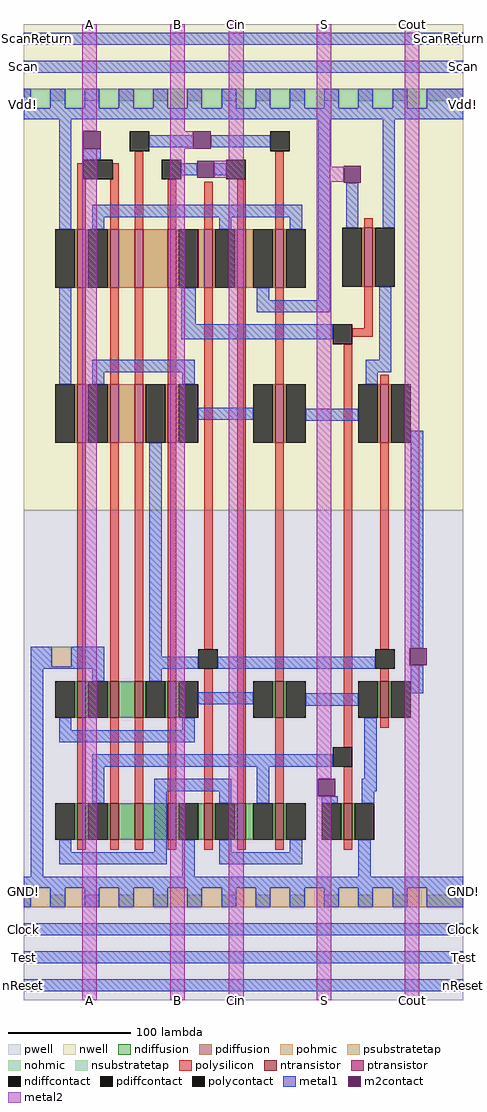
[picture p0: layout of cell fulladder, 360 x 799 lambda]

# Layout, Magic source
magic
tech c035u
<< nwell >>
rect 0 401 360 799
<< pwell >>
rect 0 0 360 401
<< polysilicon >>
rect 44 672 49 685
rect 73 672 78 685
rect 44 631 51 672
rect 71 631 78 672
rect 91 631 98 695
rect 118 631 125 672
rect 148 631 155 670
rect 175 631 182 672
rect 206 631 213 695
rect 279 632 286 640
rect 44 504 51 583
rect 71 504 78 583
rect 91 504 98 583
rect 118 504 125 583
rect 44 261 51 456
rect 71 261 78 456
rect 91 261 98 456
rect 118 261 125 456
rect 148 287 155 583
rect 44 161 51 231
rect 71 161 78 231
rect 91 161 98 231
rect 118 161 125 231
rect 148 161 155 271
rect 175 161 182 583
rect 206 504 213 583
rect 279 550 286 584
rect 269 543 286 550
rect 206 261 213 456
rect 206 161 213 231
rect 262 207 269 537
rect 292 504 299 512
rect 292 287 299 456
rect 292 261 299 271
rect 292 223 299 231
rect 262 161 269 191
rect 44 123 51 131
rect 71 123 78 131
rect 91 123 98 131
rect 118 123 125 131
rect 148 123 155 131
rect 175 123 182 131
rect 206 123 213 131
rect 262 123 269 131
<< ndiffusion >>
rect 42 231 44 261
rect 51 231 53 261
rect 69 231 71 261
rect 78 231 91 261
rect 98 231 100 261
rect 116 231 118 261
rect 125 231 127 261
rect 204 231 206 261
rect 213 231 215 261
rect 290 231 292 261
rect 299 231 301 261
rect 42 131 44 161
rect 51 131 53 161
rect 69 131 71 161
rect 78 131 91 161
rect 98 131 118 161
rect 125 131 127 161
rect 143 131 148 161
rect 155 131 157 161
rect 173 131 175 161
rect 182 131 188 161
rect 204 131 206 161
rect 213 131 215 161
rect 260 131 262 161
rect 269 131 271 161
<< pdiffusion >>
rect 42 583 44 631
rect 51 583 53 631
rect 69 583 71 631
rect 78 583 91 631
rect 98 583 118 631
rect 125 583 127 631
rect 143 583 148 631
rect 155 583 157 631
rect 173 583 175 631
rect 182 583 188 631
rect 204 583 206 631
rect 213 583 215 631
rect 277 584 279 632
rect 286 584 288 632
rect 42 456 44 504
rect 51 456 53 504
rect 69 456 71 504
rect 78 456 91 504
rect 98 456 100 504
rect 116 456 118 504
rect 125 456 127 504
rect 204 456 206 504
rect 213 456 215 504
rect 290 456 292 504
rect 299 456 301 504
<< pohmic >>
rect 0 76 6 86
rect 22 76 34 86
rect 50 76 62 86
rect 78 76 90 86
rect 106 76 118 86
rect 134 76 146 86
rect 162 76 174 86
rect 190 76 202 86
rect 218 76 230 86
rect 246 76 258 86
rect 274 76 286 86
rect 302 76 314 86
rect 330 76 360 86
<< nohmic >>
rect 0 736 6 746
rect 22 736 34 746
rect 50 736 62 746
rect 78 736 90 746
rect 106 736 118 746
rect 134 736 146 746
rect 162 736 174 746
rect 190 736 202 746
rect 218 736 230 746
rect 246 736 258 746
rect 274 736 286 746
rect 302 736 314 746
rect 330 736 360 746
<< ntransistor >>
rect 44 231 51 261
rect 71 231 78 261
rect 91 231 98 261
rect 118 231 125 261
rect 206 231 213 261
rect 292 231 299 261
rect 44 131 51 161
rect 71 131 78 161
rect 91 131 98 161
rect 118 131 125 161
rect 148 131 155 161
rect 175 131 182 161
rect 206 131 213 161
rect 262 131 269 161
<< ptransistor >>
rect 44 583 51 631
rect 71 583 78 631
rect 91 583 98 631
rect 118 583 125 631
rect 148 583 155 631
rect 175 583 182 631
rect 206 583 213 631
rect 279 584 286 632
rect 44 456 51 504
rect 71 456 78 504
rect 91 456 98 504
rect 118 456 125 504
rect 206 456 213 504
rect 292 456 299 504
<< polycontact >>
rect 87 695 103 711
rect 202 695 218 711
rect 49 672 73 688
rect 113 672 129 688
rect 166 672 182 688
rect 143 271 159 287
rect 253 537 269 553
rect 288 271 304 287
rect 253 191 269 207
<< ndiffcontact >>
rect 26 231 42 261
rect 53 231 69 261
rect 100 231 116 261
rect 127 231 143 261
rect 188 231 204 261
rect 215 231 231 261
rect 274 231 290 261
rect 301 231 317 261
rect 26 131 42 161
rect 53 131 69 161
rect 127 131 143 161
rect 157 131 173 161
rect 188 131 204 161
rect 215 131 231 161
rect 244 131 260 161
rect 271 131 287 161
<< pdiffcontact >>
rect 26 583 42 631
rect 53 583 69 631
rect 127 583 143 631
rect 157 583 173 631
rect 188 583 204 631
rect 215 583 231 631
rect 261 584 277 632
rect 288 584 304 632
rect 26 456 42 504
rect 53 456 69 504
rect 100 456 116 504
rect 127 456 143 504
rect 188 456 204 504
rect 215 456 231 504
rect 274 456 290 504
rect 301 456 317 504
<< psubstratetap >>
rect 23 273 39 289
rect 6 76 22 92
rect 34 76 50 92
rect 62 76 78 92
rect 90 76 106 92
rect 118 76 134 92
rect 146 76 162 92
rect 174 76 190 92
rect 202 76 218 92
rect 230 76 246 92
rect 258 76 274 92
rect 286 76 302 92
rect 314 76 330 92
<< nsubstratetap >>
rect 6 730 22 746
rect 34 730 50 746
rect 62 730 78 746
rect 90 730 106 746
rect 118 730 134 746
rect 146 730 162 746
rect 174 730 190 746
rect 202 730 218 746
rect 230 730 246 746
rect 258 730 274 746
rect 286 730 302 746
rect 314 730 330 746
<< metal1 >>
rect 0 782 360 792
rect 0 759 360 769
rect 0 730 6 746
rect 22 730 34 746
rect 50 730 62 746
rect 78 730 90 746
rect 106 730 118 746
rect 134 730 146 746
rect 162 730 174 746
rect 190 730 202 746
rect 218 730 230 746
rect 246 730 258 746
rect 274 730 286 746
rect 302 730 314 746
rect 330 730 360 746
rect 0 721 360 730
rect 29 631 39 721
rect 49 688 63 697
rect 103 698 139 708
rect 153 698 202 708
rect 129 675 142 685
rect 156 675 166 685
rect 56 641 228 651
rect 56 631 66 641
rect 160 631 170 641
rect 218 631 228 641
rect 29 504 39 583
rect 129 553 141 583
rect 191 573 201 583
rect 241 573 251 721
rect 264 632 274 669
rect 294 632 304 721
rect 191 563 251 573
rect 129 541 253 553
rect 291 524 301 584
rect 56 514 140 524
rect 56 504 66 514
rect 130 504 140 514
rect 280 514 301 524
rect 280 504 290 514
rect 143 475 188 485
rect 231 474 274 484
rect 6 273 23 289
rect 39 273 66 289
rect 6 271 66 273
rect 6 101 16 271
rect 56 261 66 271
rect 103 281 113 456
rect 317 288 327 466
rect 103 271 143 281
rect 159 271 288 281
rect 103 261 113 271
rect 143 242 188 252
rect 231 241 274 251
rect 317 251 327 274
rect 29 221 39 231
rect 130 221 140 231
rect 29 211 140 221
rect 56 191 253 201
rect 56 161 66 191
rect 107 171 170 181
rect 29 121 39 131
rect 107 121 117 171
rect 160 161 170 171
rect 191 161 201 191
rect 279 181 289 231
rect 277 171 289 181
rect 244 161 257 167
rect 277 161 287 171
rect 29 111 117 121
rect 130 101 140 131
rect 160 121 170 131
rect 218 121 228 131
rect 160 111 228 121
rect 274 101 284 131
rect 0 92 360 101
rect 0 76 6 92
rect 22 76 34 92
rect 50 76 62 92
rect 78 76 90 92
rect 106 76 118 92
rect 134 76 146 92
rect 162 76 174 92
rect 190 76 202 92
rect 218 76 230 92
rect 246 76 258 92
rect 274 76 286 92
rect 302 76 314 92
rect 330 76 360 92
rect 0 53 360 63
rect 0 30 360 40
rect 0 7 360 17
<< m2contact >>
rect 49 697 63 711
rect 139 697 153 711
rect 142 673 156 687
rect 262 669 276 683
rect 316 274 330 288
rect 241 167 255 181
<< metal2 >>
rect 48 711 60 799
rect 120 711 132 799
rect 48 697 49 711
rect 120 697 139 711
rect 48 0 60 697
rect 120 0 132 697
rect 168 687 180 799
rect 156 673 180 687
rect 168 0 180 673
rect 240 682 252 799
rect 240 670 262 682
rect 240 181 252 670
rect 312 288 324 799
rect 312 274 316 288
rect 240 167 241 181
rect 240 0 252 167
rect 312 0 324 274
<< labels >>
rlabel metal1 360 53 360 63 7 Clock
rlabel metal1 0 53 0 63 3 Clock
rlabel metal1 360 76 360 101 7 GND!
rlabel metal1 0 76 0 101 3 GND!
rlabel metal1 0 30 0 40 3 Test
rlabel metal1 360 30 360 40 7 Test
rlabel metal1 0 7 0 17 2 nReset
rlabel metal2 120 0 132 0 1 B
rlabel metal2 168 0 180 0 1 Cin
rlabel metal2 312 0 324 0 1 Cout
rlabel metal2 240 0 252 0 1 S
rlabel metal1 360 7 360 17 8 nReset
rlabel metal1 0 759 0 769 3 Scan
rlabel metal1 360 759 360 769 7 Scan
rlabel metal2 168 799 180 799 5 Cin
rlabel metal2 120 799 132 799 5 B
rlabel metal2 48 799 60 799 5 A
rlabel metal1 0 782 0 792 3 ScanReturn
rlabel metal2 240 799 252 799 5 S
rlabel metal2 312 799 324 799 5 Cout
rlabel metal1 360 782 360 792 7 ScanReturn
rlabel metal1 0 721 0 746 3 Vdd!
rlabel metal1 360 721 360 746 7 Vdd!
rlabel metal2 48 0 60 0 1 A
<< end >>
